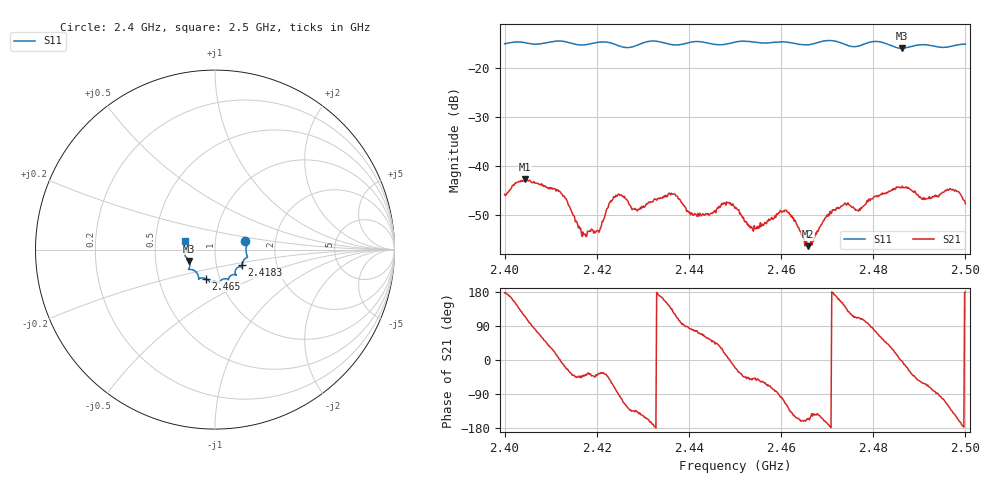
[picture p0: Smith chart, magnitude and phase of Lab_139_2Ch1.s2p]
# Hz S RI R 50
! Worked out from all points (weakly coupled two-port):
!   601 points, 2.4 GHz to 2.5 GHz, reference 50 ohm
!   highest |S21| = -42.75 dB at 2.4045 GHz (marker M1); lowest = -56.4 dB at 2.4658 GHz (marker M2)
!   lowest |S11| = -16.1 dB at 2.4862 GHz (marker M3), VSWR 1.37, Z = 37.2 - j4.85 ohm
!   |S11| at or under -10 dB: start of sweep to end of sweep
!   S12 and S22 are empty: the file has one direction only
!   S11 on the Smith chart (normalised r, x): 2.4 GHz: 1.40, +0.13; 2.4183 GHz: 1.33, -0.24; 2.465 GHz: 0.86, -0.29; 2.5 GHz: 0.71, +0.07
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2.4e9  0.1684 0.0465  -0.00512 0.000258  0 0  0 0
2.4045e9  0.1771 0.0231  -0.00299 0.00665  0 0  0 0
2.412e9  0.1816 -0.0413  0.00548 0.000149  0 0  0 0
2.416667e9  0.1551 -0.068  0.0014 -0.00149  0 0  0 0
2.418333e9  0.15 -0.0867  0.0017 -0.00132  0 0  0 0
2.4205e9  0.1512 -0.0996  0.00172 -0.00122  0 0  0 0
2.424333e9  0.1401 -0.0953  0.000577 -0.00485  0 0  0 0
2.428333e9  0.113 -0.1214  -0.0026 -0.0026  0 0  0 0
2.433333e9  0.1175 -0.1414  -0.00462 0.000521  0 0  0 0
2.436667e9  0.0939 -0.1419  -0.00292 0.00423  0 0  0 0
2.441333e9  0.0744 -0.1679  0.000705 0.00319  0 0  0 0
2.45e9  0.0256 -0.1797  0.00345 -0.00129  0 0  0 0
2.454167e9  0.0135 -0.1809  0.00161 -0.00186  0 0  0 0
2.461333e9  -0.0305 -0.1784  -0.00177 -0.00287  0 0  0 0
2.465e9  -0.0524 -0.1618  -0.00166 -0.000607  0 0  0 0
2.465833e9  -0.0617 -0.1586  -0.0014 -0.000592  0 0  0 0
2.466667e9  -0.0708 -0.1574  -0.00122 -0.000973  0 0  0 0
2.471167e9  -0.0912 -0.1641  -0.00356 0.000157  0 0  0 0
2.483333e9  -0.1411 -0.0966  0.00416 0.00358  0 0  0 0
2.486167e9  -0.1432 -0.0636  0.00597 -0.000203  0 0  0 0
2.497e9  -0.1625 0.0269  -0.00396 -0.00413  0 0  0 0
2.5e9  -0.1663 0.0474  -0.00411 9.6e-05  0 0  0 0
